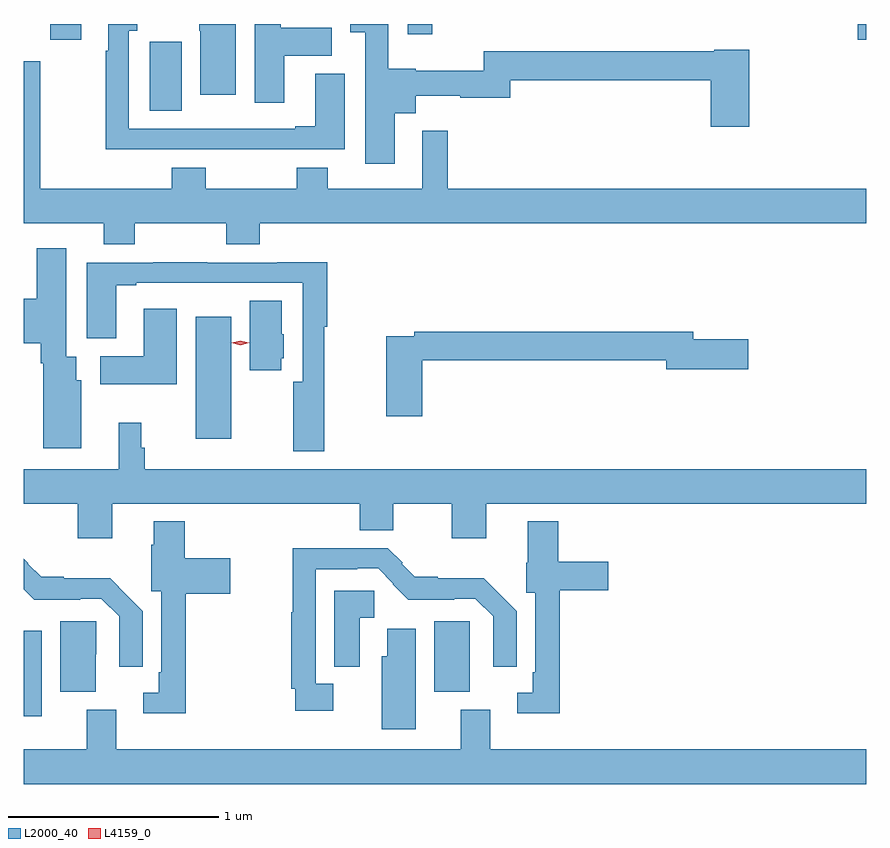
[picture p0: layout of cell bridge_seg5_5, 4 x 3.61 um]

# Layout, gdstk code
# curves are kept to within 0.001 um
import gdstk
lib = gdstk.Library(unit=1e-6, precision=1e-09)
def R(c, l, rs):  # rectangles x0, y0, x1, y1
    for r in rs: c.add(gdstk.rectangle(r[:2], r[2:], *l))
def P(c, l, *ps):  # polygons
    for p in ps: c.add(gdstk.Polygon(p, *l))
L2000_40 = (2000, 40)
L4159_0 = (4159, 0)

bridge_seg5_5 = lib.new_cell('bridge_seg5_5')
R(bridge_seg5_5, L2000_40, [(987.022,841.098,987.106,841.504), (988.97,841.214,989.14,841.548), (987.839,842.415,988.006,842.995), (987.62,843.973,987.772,844.302), (987.148,844.311,987.295,844.386), (990.983,844.311,991.022,844.386), (988.845,844.338,988.961,844.386)])
P(bridge_seg5_5, L2000_40, [(988.027,844.386),(987.854,844.386),(987.854,844.353),(987.86,844.353),(987.86,844.05),(988.027,844.05)],
  [(988.783,843.962),(988.882,843.962),(988.882,844.046),(989.094,844.046),(989.094,844.035),(989.333,844.035),(989.333,844.12),(990.284,844.12),(990.284,843.897),(990.467,843.897),(990.467,844.264),(990.3,844.264),(990.3,844.256),(989.205,844.256),(989.205,844.163),(988.882,844.163),(988.882,844.174),(988.753,844.174),(988.753,844.386),(988.571,844.386),(988.571,844.346),(988.643,844.346),(988.643,843.723),(988.783,843.723)],
  [(987.641,843.792),(987.973,843.792),(987.973,843.791),(988.229,843.791),(988.229,843.792),(988.546,843.792),(988.546,844.15),(988.406,844.15),(988.406,843.901),(988.31,843.901),(988.31,843.888),(987.519,843.888),(987.519,844.355),(987.559,844.355),(987.559,844.386),(987.422,844.386),(987.422,844.259),(987.411,844.259),(987.411,843.791),(987.641,843.791)],
  [(988.258,844.235),(988.483,844.235),(988.483,844.369),(988.241,844.369),(988.241,844.386),(988.118,844.386),(988.118,844.011),(988.258,844.011)],
  [(987.549,843.44),(987.982,843.44),(987.982,843.341),(988.142,843.341),(988.142,843.44),(991.022,843.44),(991.022,843.604),(989.035,843.604),(989.035,843.88),(988.913,843.88),(988.913,843.604),(988.465,843.604),(988.465,843.703),(988.318,843.703),(988.318,843.604),(987.885,843.604),(987.885,843.703),(987.725,843.703),(987.725,843.604),(987.1,843.604),(987.1,844.21),(987.022,844.21),(987.022,843.44),(987.401,843.44),(987.401,843.341),(987.549,843.341)],
  [(987.295,842.694),(987.271,842.694),(987.271,842.806),(987.223,842.806),(987.223,843.322),(987.083,843.322),(987.083,843.082),(987.022,843.082),(987.022,842.87),(987.101,842.87),(987.101,842.774),(987.113,842.774),(987.113,842.372),(987.295,842.372)],
  [(988.448,842.949),(988.463,842.949),(988.463,843.254),(988.225,843.254),(988.225,843.252),(987.893,843.252),(987.893,843.254),(987.637,843.254),(987.637,843.252),(987.32,843.252),(987.32,842.894),(987.46,842.894),(987.46,843.144),(987.556,843.144),(987.556,843.156),(988.347,843.156),(988.347,842.686),(988.302,842.686),(988.302,842.585),(988.3,842.585),(988.3,842.357),(988.448,842.357)],
  [(988.244,842.799),(988.255,842.799),(988.255,842.913),(988.246,842.913),(988.246,843.071),(988.094,843.071),(988.094,842.742),(988.244,842.742)],
  [(987.748,843.034),(987.59,843.034),(987.59,842.809),(987.384,842.809),(987.384,842.675),(987.748,842.675)],
  [(988.913,842.788),(990.074,842.788),(990.074,842.746),(990.463,842.746),(990.463,842.888),(990.202,842.888),(990.202,842.924),(988.876,842.924),(988.876,842.904),(988.742,842.904),(988.742,842.523),(988.913,842.523)],
  [(987.442,842.108),(988.616,842.108),(988.616,841.982),(988.777,841.982),(988.777,842.108),(989.054,842.108),(989.054,841.944),(989.218,841.944),(989.218,842.108),(991.022,842.108),(991.022,842.272),(987.595,842.272),(987.595,842.373),(987.58,842.373),(987.58,842.491),(987.473,842.491),(987.473,842.272),(987.022,842.272),(987.022,842.108),(987.278,842.108),(987.278,841.944),(987.442,841.944)],
  [(989.567,841.697),(989.797,841.697),(989.797,841.831),(989.561,841.831),(989.561,842.023),(989.414,842.023),(989.414,841.827),(989.409,841.827),(989.409,841.685),(989.451,841.685),(989.451,841.306),(989.439,841.306),(989.439,841.209),(989.364,841.209),(989.364,841.112),(989.567,841.112)],
  [(987.791,841.679),(988.003,841.679),(988.003,841.849),(987.785,841.849),(987.785,842.023),(987.638,842.023),(987.638,841.913),(987.626,841.913),(987.626,841.692),(987.675,841.692),(987.675,841.306),(987.663,841.306),(987.663,841.209),(987.588,841.209),(987.588,841.112),(987.791,841.112)],
  [(988.49,841.252),(988.407,841.252),(988.407,841.796),(988.604,841.796),(988.604,841.8),(988.704,841.8),(988.776,841.728),(988.773,841.725),(988.847,841.652),(989.066,841.652),(989.066,841.656),(989.166,841.656),(989.25,841.572),(989.25,841.332),(989.362,841.332),(989.362,841.596),(989.207,841.753),(988.987,841.753),(988.987,841.761),(988.879,841.761),(988.817,841.823),(988.821,841.827),(988.751,841.897),(988.299,841.897),(988.299,841.593),(988.291,841.593),(988.291,841.228),(988.311,841.228),(988.311,841.124),(988.49,841.124)],
  [(987.586,841.596),(987.431,841.753),(987.211,841.753),(987.211,841.761),(987.103,841.761),(987.041,841.823),(987.043,841.825),(987.022,841.846),(987.022,841.7),(987.071,841.652),(987.29,841.652),(987.29,841.656),(987.39,841.656),(987.474,841.572),(987.474,841.332),(987.586,841.332)],
  [(988.618,841.565),(988.687,841.565),(988.687,841.694),(988.496,841.694),(988.496,841.333),(988.618,841.333)],
  [(987.364,841.392),(987.366,841.392),(987.366,841.548),(987.194,841.548),(987.194,841.214),(987.364,841.214)],
  [(988.882,841.513),(988.748,841.513),(988.748,841.383),(988.721,841.383),(988.721,841.035),(988.882,841.035)],
  [(991.022,840.94),(989.236,840.94),(989.236,841.129),(989.096,841.129),(989.096,840.94),(987.46,840.94),(987.46,841.129),(987.32,841.129),(987.32,840.94),(987.022,840.94),(987.022,840.776),(991.022,840.776)])
P(bridge_seg5_5, L4159_0, [(988.05,842.861),(988.009,842.871),(988.008,842.871),(988.009,842.871),(988.05,842.881),(988.091,842.871),(988.091,842.871),(988.091,842.871)])

lib.write_gds('bridge_seg5_5.gds')
